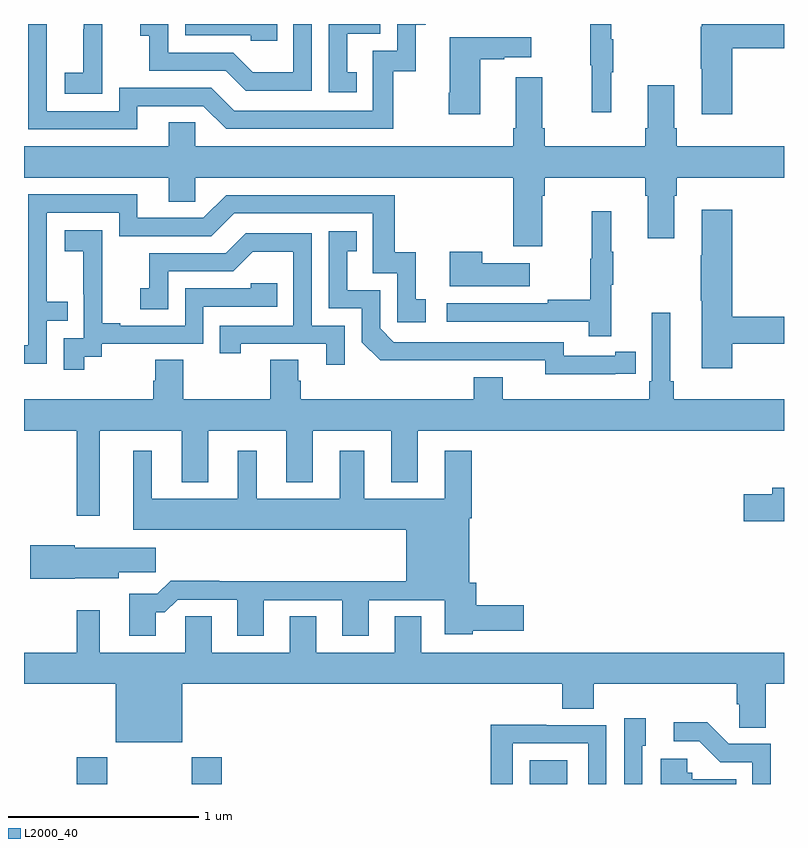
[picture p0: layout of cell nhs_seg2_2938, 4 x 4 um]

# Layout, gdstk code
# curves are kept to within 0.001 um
import gdstk
lib = gdstk.Library(unit=1e-6, precision=1e-09)
def R(c, l, rs):  # rectangles x0, y0, x1, y1
    for r in rs: c.add(gdstk.rectangle(r[:2], r[2:], *l))
def P(c, l, *ps):  # polygons
    for p in ps: c.add(gdstk.Polygon(p, *l))
L2000_40 = (2000, 40)

nhs_seg2_2938 = lib.new_cell('nhs_seg2_2938')
R(nhs_seg2_2938, L2000_40, [(265.277,621.8,265.437,621.94), (265.882,621.8,266.042,621.94), (267.662,621.8,267.859,621.925)])
P(nhs_seg2_2938, L2000_40, [(266.75,625.545),(266.701,625.545),(266.701,625.749),(266.874,625.749),(266.874,625.8),(266.604,625.8),(266.604,625.44),(266.75,625.44)],
  [(266.333,625.8),(265.848,625.8),(265.848,625.74),(266.193,625.74),(266.193,625.713),(266.333,625.713)],
  [(265.413,625.639),(265.412,625.639),(265.412,625.8),(265.314,625.8),(265.314,625.772),(265.313,625.772),(265.313,625.543),(265.215,625.543),(265.215,625.433),(265.413,625.433)],
  [(266.514,625.8),(266.418,625.8),(266.418,625.546),(266.204,625.546),(266.1,625.65),(265.758,625.65),(265.758,625.8),(265.611,625.8),(265.611,625.739),(265.66,625.739),(265.66,625.554),(266.063,625.554),(266.168,625.449),(266.514,625.449)],
  [(265.597,625.368),(265.944,625.368),(266.064,625.248),(266.944,625.248),(266.944,625.551),(267.062,625.551),(267.062,625.797),(267.115,625.797),(267.115,625.8),(266.964,625.8),(266.964,625.659),(266.835,625.659),(266.835,625.344),(266.106,625.344),(265.986,625.464),(265.5,625.464),(265.5,625.341),(265.119,625.341),(265.119,625.8),(265.023,625.8),(265.023,625.245),(265.597,625.245)],
  [(268.091,625.547),(268.102,625.547),(268.102,625.721),(268.091,625.721),(268.091,625.8),(267.757,625.8),(267.757,625.798),(267.981,625.798),(267.981,625.584),(267.988,625.584),(267.988,625.335),(268.091,625.335)],
  [(268.727,625.672),(269,625.672),(269,625.8),(268.568,625.8),(268.568,625.785),(268.561,625.785),(268.561,625.564),(268.568,625.564),(268.568,625.326),(268.727,625.326)],
  [(267.4,625.615),(267.527,625.615),(267.527,625.625),(267.67,625.625),(267.67,625.729),(267.242,625.729),(267.242,625.438),(267.235,625.438),(267.235,625.326),(267.4,625.326)],
  [(267.727,624.896),(267.74,624.896),(267.74,624.992),(268.271,624.992),(268.271,624.896),(268.283,624.896),(268.283,624.672),(268.423,624.672),(268.423,624.896),(268.436,624.896),(268.436,624.992),(269,624.992),(269,625.156),(268.436,625.156),(268.436,625.252),(268.423,625.252),(268.423,625.477),(268.283,625.477),(268.283,625.252),(268.271,625.252),(268.271,625.156),(267.74,625.156),(267.74,625.252),(267.727,625.252),(267.727,625.519),(267.587,625.519),(267.587,625.252),(267.575,625.252),(267.575,625.156),(265.902,625.156),(265.902,625.283),(265.763,625.283),(265.763,625.156),(265,625.156),(265,624.992),(265.763,624.992),(265.763,624.865),(265.902,624.865),(265.902,624.992),(267.575,624.992),(267.575,624.63),(267.727,624.63)],
  [(265.119,624.237),(265.229,624.237),(265.229,624.338),(265.119,624.338),(265.119,624.807),(265.5,624.807),(265.5,624.684),(265.986,624.684),(266.106,624.804),(266.835,624.804),(266.835,624.489),(266.964,624.489),(266.964,624.231),(267.115,624.231),(267.115,624.351),(267.062,624.351),(267.062,624.598),(266.951,624.598),(266.951,624.9),(266.064,624.9),(265.944,624.78),(265.597,624.78),(265.597,624.903),(265.023,624.903),(265.023,624.108),(265,624.108),(265,624.012),(265.119,624.012)],
  [(268.727,624.118),(269,624.118),(269,624.26),(268.727,624.26),(268.727,624.823),(268.568,624.823),(268.568,624.584),(268.561,624.584),(268.561,624.343),(268.568,624.343),(268.568,623.988),(268.727,623.988)],
  [(268.091,624.427),(268.102,624.427),(268.102,624.601),(268.091,624.601),(268.091,624.814),(267.988,624.814),(267.988,624.564),(267.981,624.564),(267.981,624.35),(267.757,624.35),(267.757,624.33),(267.225,624.33),(267.225,624.234),(267.973,624.234),(267.973,624.156),(268.091,624.156)],
  [(265.318,624.049),(265.41,624.049),(265.41,624.117),(265.944,624.117),(265.944,624.312),(266.333,624.312),(266.333,624.435),(266.193,624.435),(266.193,624.408),(265.848,624.408),(265.848,624.213),(265.507,624.213),(265.507,624.226),(265.412,624.226),(265.412,624.509),(265.413,624.509),(265.413,624.715),(265.215,624.715),(265.215,624.605),(265.313,624.605),(265.313,624.377),(265.314,624.377),(265.314,624.147),(265.209,624.147),(265.209,623.979),(265.318,623.979)],
  [(268.112,623.958),(268.22,623.958),(268.22,624.074),(268.112,624.074),(268.112,624.054),(267.84,624.054),(267.84,624.126),(266.946,624.126),(266.874,624.198),(266.874,624.399),(266.701,624.399),(266.701,624.603),(266.75,624.603),(266.75,624.709),(266.604,624.709),(266.604,624.303),(266.778,624.303),(266.778,624.126),(266.876,624.029),(267.744,624.03),(267.744,623.957)],
  [(266.688,624.213),(266.514,624.213),(266.514,624.699),(266.168,624.699),(266.063,624.594),(265.66,624.594),(265.66,624.409),(265.611,624.409),(265.611,624.3),(265.758,624.3),(265.758,624.498),(266.1,624.498),(266.204,624.602),(266.418,624.602),(266.418,624.213),(266.029,624.213),(266.029,624.066),(266.14,624.066),(266.14,624.117),(266.591,624.117),(266.591,624.006),(266.688,624.006)],
  [(267.661,624.541),(267.413,624.541),(267.413,624.601),(267.242,624.601),(267.242,624.419),(267.661,624.419)],
  [(266.456,623.922),(266.443,623.922),(266.443,624.032),(266.296,624.032),(266.296,623.824),(265.839,623.824),(265.839,624.032),(265.691,624.032),(265.691,623.922),(265.679,623.922),(265.679,623.824),(265,623.824),(265,623.66),(265.278,623.66),(265.278,623.211),(265.399,623.211),(265.399,623.66),(265.829,623.66),(265.829,623.387),(265.969,623.387),(265.969,623.66),(266.381,623.66),(266.381,623.387),(266.521,623.387),(266.521,623.66),(266.933,623.66),(266.933,623.387),(267.073,623.387),(267.073,623.66),(269,623.66),(269,623.824),(268.421,623.824),(268.421,623.92),(268.402,623.92),(268.402,624.28),(268.305,624.28),(268.305,623.92),(268.292,623.92),(268.292,623.824),(267.52,623.824),(267.52,623.941),(267.368,623.941),(267.368,623.824),(266.456,623.824)],
  [(265.693,622.703),(265.742,622.703),(265.809,622.77),(266.123,622.77),(266.123,622.581),(266.263,622.581),(266.263,622.767),(266.675,622.767),(266.675,622.581),(266.815,622.581),(266.815,622.767),(267.215,622.767),(267.215,622.589),(267.363,622.589),(267.363,622.607),(267.631,622.607),(267.631,622.742),(267.38,622.742),(267.38,622.86),(267.343,622.86),(267.343,623.198),(267.356,623.198),(267.356,623.554),(267.215,623.554),(267.215,623.302),(266.791,623.302),(266.791,623.554),(266.663,623.554),(266.663,623.302),(266.224,623.302),(266.224,623.554),(266.126,623.554),(266.126,623.302),(265.672,623.302),(265.672,623.554),(265.574,623.554),(265.574,623.138),(267.011,623.138),(267.011,622.868),(266.027,622.868),(266.027,622.871),(265.772,622.871),(265.702,622.801),(265.553,622.801),(265.553,622.581),(265.693,622.581)],
  [(269,623.359),(268.937,623.359),(268.937,623.325),(268.788,623.325),(268.788,623.183),(269,623.183)],
  [(265.266,622.883),(265.498,622.883),(265.498,622.915),(265.693,622.915),(265.693,623.044),(265.266,623.044),(265.266,623.057),(265.032,623.057),(265.032,622.879),(265.266,622.879)],
  [(265.834,622.328),(267.833,622.328),(267.833,622.195),(267.998,622.195),(267.998,622.328),(268.751,622.328),(268.751,622.219),(268.764,622.219),(268.764,622.096),(268.903,622.096),(268.903,622.328),(269,622.328),(269,622.492),(267.091,622.492),(267.091,622.682),(266.951,622.682),(266.951,622.492),(266.539,622.492),(266.539,622.682),(266.399,622.682),(266.399,622.492),(265.987,622.492),(265.987,622.682),(265.848,622.682),(265.848,622.492),(265.399,622.492),(265.399,622.714),(265.278,622.714),(265.278,622.492),(265,622.492),(265,622.328),(265.484,622.328),(265.484,622.019),(265.834,622.019)],
  [(268.254,622.002),(268.273,622.002),(268.273,622.147),(268.158,622.147),(268.158,621.8),(268.254,621.8)],
  [(268.929,622.011),(268.71,622.011),(268.597,622.124),(268.419,622.124),(268.419,622.026),(268.553,622.026),(268.664,621.915),(268.833,621.915),(268.833,621.8),(268.929,621.8)],
  [(267.573,622.014),(267.969,622.014),(267.969,621.8),(268.065,621.8),(268.065,622.11),(267.749,622.11),(267.749,622.112),(267.457,622.112),(267.457,621.8),(267.573,621.8)],
  [(268.748,621.826),(268.518,621.826),(268.518,621.858),(268.491,621.858),(268.491,621.934),(268.352,621.934),(268.352,621.8),(268.748,621.8)])

lib.write_gds('nhs_seg2_2938.gds')
